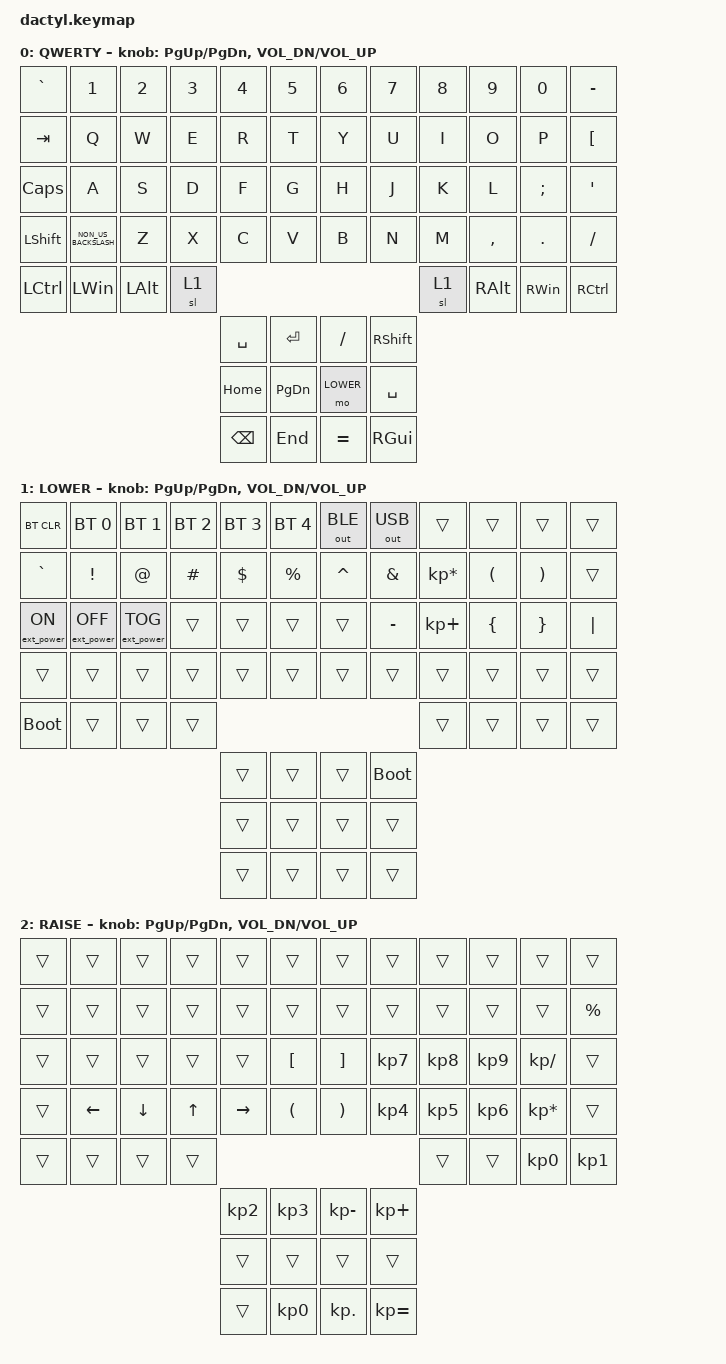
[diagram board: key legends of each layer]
/*
 * Copyright (c) 2020 The ZMK Contributors
 *
 * SPDX-License-Identifier: MIT
 */

#include <behaviors.dtsi>
#include <dt-bindings/zmk/bt.h>
#include <dt-bindings/zmk/ext_power.h>
#include <dt-bindings/zmk/keys.h>
#include <dt-bindings/zmk/outputs.h>

#define QWERTY 0
#define LOWER 1
#define RAISE 2

/ {
    keymap {
        compatible = "zmk,keymap";

        default_layer {
            display-name = "QWERTY";
            bindings = <
&kp GRAVE  &kp NUMBER_1          &kp NUMBER_2  &kp NUMBER_3  &kp NUMBER_4   &kp N5           &kp N6     &kp N7     &kp N8  &kp N9         &kp N0         &kp MINUS
&kp TAB    &kp Q                 &kp W         &kp E         &kp R          &kp T            &kp Y      &kp U      &kp I   &kp O          &kp P          &kp LEFT_BRACKET
&kp CLCK   &kp A                 &kp S         &kp D         &kp F          &kp G            &kp H      &kp J      &kp K   &kp L          &kp SEMI       &kp SQT
&kp LSHFT  &kp NON_US_BACKSLASH  &kp Z         &kp X         &kp C          &kp V            &kp B      &kp N      &kp M   &kp COMMA      &kp PERIOD     &kp SLASH
&kp LCTRL  &kp LEFT_WIN          &kp LEFT_ALT  &sl 1                                                               &sl 1   &kp RIGHT_ALT  &kp RIGHT_WIN  &kp RCTRL
                                                             &kp SPACE      &kp ENTER        &kp FSLH   &kp RSHFT
                                                             &kp HOME       &kp PAGE_DOWN    &mo LOWER  &kp SPACE
                                                             &kp BACKSPACE  &kp END          &kp EQUAL  &kp RGUI
            >;

            sensor-bindings = <&inc_dec_kp PG_UP PG_DN &inc_dec_kp C_VOL_DN C_VOL_UP>;
        };

        lower_layer {
            display-name = "LOWER";
            bindings = <
&bt BT_CLR        &bt BT_SEL 0       &bt BT_SEL 1       &bt BT_SEL 2  &bt BT_SEL 3  &bt BT_SEL 4    &out OUT_BLE  &out OUT_USB  &trans           &trans    &trans    &trans
&kp GRAVE         &kp EXCL           &kp AT             &kp HASH      &kp DOLLAR    &kp PRCNT       &kp CARET     &kp AMPS      &kp KP_MULTIPLY  &kp LPAR  &kp RPAR  &trans
&ext_power EP_ON  &ext_power EP_OFF  &ext_power EP_TOG  &trans        &trans        &trans          &trans        &kp MINUS     &kp KP_PLUS      &kp LBRC  &kp RBRC  &kp PIPE
&trans            &trans             &trans             &trans        &trans        &trans          &trans        &trans        &trans           &trans    &trans    &trans
&bootloader       &trans             &trans             &trans                                                                  &trans           &trans    &trans    &trans
                                                                      &trans        &trans          &trans        &bootloader
                                                                      &trans        &trans          &trans        &trans
                                                                      &trans        &trans          &trans        &trans
            >;

            sensor-bindings = <&inc_dec_kp PG_UP PG_DN &inc_dec_kp C_VOL_DN C_VOL_UP>;
        };

        raise_layer {
            display-name = "RAISE";
            bindings = <
&trans  &trans    &trans    &trans  &trans     &trans       &trans        &trans        &trans     &trans     &trans           &trans
&trans  &trans    &trans    &trans  &trans     &trans       &trans        &trans        &trans     &trans     &trans           &kp PRCNT
&trans  &trans    &trans    &trans  &trans     &kp LBKT     &kp RBKT      &kp KP_N7     &kp KP_N8  &kp KP_N9  &kp KP_DIVIDE    &trans
&trans  &kp LEFT  &kp DOWN  &kp UP  &kp RIGHT  &kp LPAR     &kp RPAR      &kp KP_N4     &kp KP_N5  &kp KP_N6  &kp KP_MULTIPLY  &trans
&trans  &trans    &trans    &trans                                                      &trans     &trans     &kp KP_N0        &kp KP_N1
                                    &kp KP_N2  &kp KP_N3    &kp KP_MINUS  &kp KP_PLUS
                                    &trans     &trans       &trans        &trans
                                    &trans     &kp KP_N0    &kp KP_DOT    &kp KP_EQUAL
            >;

            sensor-bindings = <&inc_dec_kp PG_UP PG_DN &inc_dec_kp C_VOL_DN C_VOL_UP>;
        };
    };
};
